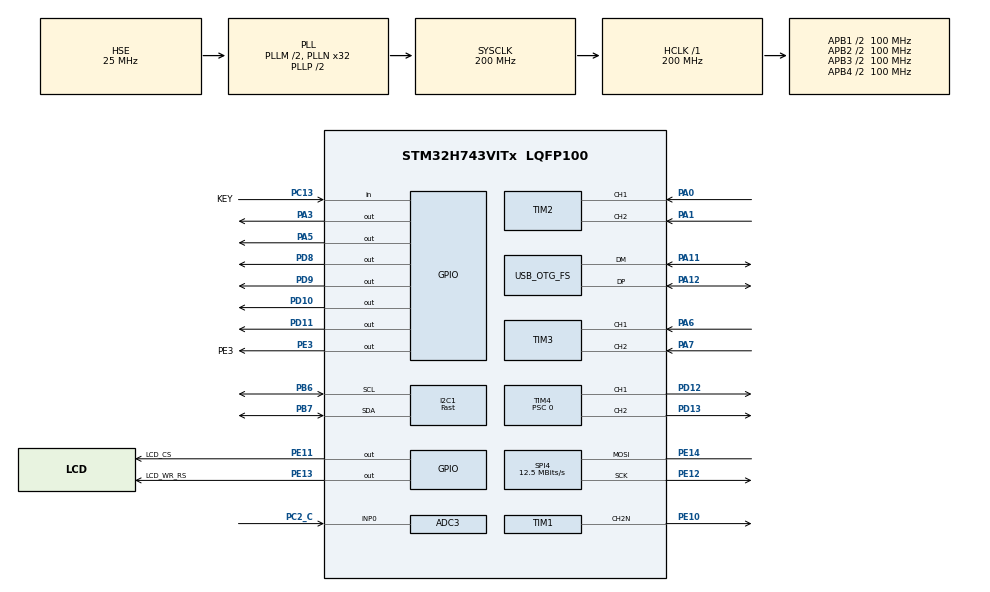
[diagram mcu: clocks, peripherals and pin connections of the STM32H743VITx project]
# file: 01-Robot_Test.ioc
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ADC3.Channel-0\#ChannelRegularConversion=ADC_CHANNEL_0
ADC3.Channel-1\#ChannelRegularConversion=ADC_CHANNEL_VREFINT
ADC3.Channel-2\#ChannelRegularConversion=ADC_CHANNEL_TEMPSENSOR
ADC3.Channel-3\#ChannelRegularConversion=ADC_CHANNEL_VBAT
ADC3.ContinuousConvMode=DISABLE
ADC3.DiscontinuousConvMode=ENABLE
ADC3.NbrOfConversion=4
ADC3.NbrOfConversionFlag=1
ADC3.OffsetNumber-0\#ChannelRegularConversion=ADC_OFFSET_NONE
ADC3.OffsetNumber-1\#ChannelRegularConversion=ADC_OFFSET_NONE
ADC3.OffsetNumber-2\#ChannelRegularConversion=ADC_OFFSET_NONE
ADC3.OffsetNumber-3\#ChannelRegularConversion=ADC_OFFSET_NONE
ADC3.Rank-0\#ChannelRegularConversion=1
ADC3.Rank-1\#ChannelRegularConversion=2
ADC3.Rank-2\#ChannelRegularConversion=3
ADC3.Rank-3\#ChannelRegularConversion=4
ADC3.SamplingTime-0\#ChannelRegularConversion=ADC_SAMPLETIME_387CYCLES_5
ADC3.SamplingTime-1\#ChannelRegularConversion=ADC_SAMPLETIME_387CYCLES_5
ADC3.SamplingTime-2\#ChannelRegularConversion=ADC_SAMPLETIME_387CYCLES_5
ADC3.SamplingTime-3\#ChannelRegularConversion=ADC_SAMPLETIME_387CYCLES_5
I2C1.I2C_Speed_Mode=I2C_Fast
I2C1.Timing=0x009034B6
Mcu.Family=STM32H7
Mcu.Name=STM32H743VITx
Mcu.Package=LQFP100
NVIC.OTG_FS_IRQn=true\:0\:0\:false\:false\:true\:false\:true\:true
NVIC.PriorityGroup=NVIC_PRIORITYGROUP_4
PA0.Signal=S_TIM2_CH1_ETR
PA1.Signal=S_TIM2_CH2
PA11.Mode=Device_Only
PA11.Signal=USB_OTG_FS_DM
PA12.Mode=Device_Only
PA12.Signal=USB_OTG_FS_DP
PA13\ (JTMS/SWDIO).Mode=Serial_Wire
PA13\ (JTMS/SWDIO).Signal=DEBUG_JTMS-SWDIO
PA14\ (JTCK/SWCLK).Mode=Serial_Wire
PA14\ (JTCK/SWCLK).Signal=DEBUG_JTCK-SWCLK
PA3.Signal=GPIO_Output
PA5.Signal=GPIO_Output
PA6.Signal=S_TIM3_CH1
PA7.Signal=S_TIM3_CH2
PB6.Mode=I2C
PB6.Signal=I2C1_SCL
PB7.Mode=I2C
PB7.Signal=I2C1_SDA
PC13.GPIO_Label=KEY
PC13.GPIO_PuPd=GPIO_PULLDOWN
PC13.Signal=GPIO_Input
PC14-OSC32_IN\ (OSC32_IN).Mode=LSE-External-Oscillator
PC14-OSC32_IN\ (OSC32_IN).Signal=RCC_OSC32_IN
PC15-OSC32_OUT\ (OSC32_OUT).Mode=LSE-External-Oscillator
PC15-OSC32_OUT\ (OSC32_OUT).Signal=RCC_OSC32_OUT
PC2_C.Mode=IN0-Single-Ended
PC2_C.Signal=ADC3_INP0
PD10.Signal=GPIO_Output
PD11.Signal=GPIO_Output
PD12.Signal=S_TIM4_CH1
PD13.Signal=S_TIM4_CH2
PD8.Signal=GPIO_Output
PD9.Signal=GPIO_Output
PE10.Mode=PWM Generation2 CH2N
PE10.Signal=TIM1_CH2N
PE11.GPIO_Label=LCD_CS
PE11.GPIO_Speed=GPIO_SPEED_FREQ_VERY_HIGH
PE11.PinState=GPIO_PIN_SET
PE11.Signal=GPIO_Output
PE12.GPIO_Speed=GPIO_SPEED_FREQ_MEDIUM
PE12.Mode=Simplex_Bidirectional_Master
PE12.Signal=SPI4_SCK
PE13.GPIO_Label=LCD_WR_RS
PE13.GPIO_Speed=GPIO_SPEED_FREQ_VERY_HIGH
PE13.PinState=GPIO_PIN_SET
PE13.Signal=GPIO_Output
PE14.GPIO_Speed=GPIO_SPEED_FREQ_MEDIUM
PE14.Mode=Simplex_Bidirectional_Master
PE14.Signal=SPI4_MOSI
PE3.GPIO_Label=PE3
PE3.Signal=GPIO_Output
PH0-OSC_IN\ (PH0).Mode=HSE-External-Oscillator
PH0-OSC_IN\ (PH0).Signal=RCC_OSC_IN
PH1-OSC_OUT\ (PH1).Mode=HSE-External-Oscillator
PH1-OSC_OUT\ (PH1).Signal=RCC_OSC_OUT
ProjectManager.HeapSize=0x200
ProjectManager.StackSize=0x400
ProjectManager.TargetToolchain=STM32CubeIDE
RCC.ADCCLockSelection=RCC_ADCCLKSOURCE_PLL3
RCC.ADCFreq_Value=75000000
RCC.APB1Freq_Value=100000000
RCC.APB2Freq_Value=100000000
RCC.APB3Freq_Value=100000000
RCC.APB4Freq_Value=100000000
RCC.CortexFreq_Value=200000000
RCC.D1PPRE=RCC_APB3_DIV2
RCC.D2PPRE1=RCC_APB1_DIV2
RCC.D2PPRE2=RCC_APB2_DIV2
RCC.D3PPRE=RCC_APB4_DIV2
RCC.DIVM1=2
RCC.DIVM2=4
RCC.DIVM3=2
RCC.DIVN1=32
RCC.DIVN2=9
RCC.DIVN3=12
RCC.DIVP2=1
RCC.DIVQ1=7
RCC.HCLKFreq_Value=200000000
RCC.PLL2FRACN=3072
RCC.PLL3FRACN=0
RCC.PLLFRACN=0
RCC.PLLSourceVirtual=RCC_PLLSOURCE_HSE
RCC.PWR_Regulator_Voltage_Scale=PWR_REGULATOR_VOLTAGE_SCALE0
RCC.RTCClockSelection=RCC_RTCCLKSOURCE_LSE
RCC.SYSCLKFreq_VALUE=200000000
RCC.SYSCLKSource=RCC_SYSCLKSOURCE_PLLCLK
RCC.USBCLockSelection=RCC_USBCLKSOURCE_HSI48
RCC.USBFreq_Value=48000000
SH.S_TIM2_CH1_ETR.0=TIM2_CH1,Encoder_Interface
SH.S_TIM2_CH2.0=TIM2_CH2,Encoder_Interface
SH.S_TIM3_CH1.0=TIM3_CH1,Encoder_Interface
SH.S_TIM3_CH2.0=TIM3_CH2,Encoder_Interface
SH.S_TIM4_CH1.0=TIM4_CH1,PWM Generation1 CH1
SH.S_TIM4_CH2.0=TIM4_CH2,PWM Generation2 CH2
SPI4.BaudRatePrescaler=SPI_BAUDRATEPRESCALER_8
SPI4.CalculateBaudRate=12.5 MBits/s
SPI4.DataSize=SPI_DATASIZE_8BIT
SPI4.Direction=SPI_DIRECTION_1LINE
SPI4.Mode=SPI_MODE_MASTER
SPI4.VirtualType=VM_MASTER
TIM1.Channel-PWM\ Generation2\ CH2N=TIM_CHANNEL_2
TIM1.OCNPolarity_2=TIM_OCNPOLARITY_LOW
TIM1.Period=1000-1
TIM1.Prescaler=12-1
TIM2.EncoderMode=TIM_ENCODERMODE_TI1
TIM3.EncoderMode=TIM_ENCODERMODE_TI2
TIM4.AutoReloadPreload=TIM_AUTORELOAD_PRELOAD_DISABLE
TIM4.Channel-PWM\ Generation1\ CH1=TIM_CHANNEL_1
TIM4.Channel-PWM\ Generation2\ CH2=TIM_CHANNEL_2
TIM4.Period=10000-1
TIM4.Prescaler=0
TIM8.AutoReloadPreload=TIM_AUTORELOAD_PRELOAD_ENABLE
TIM8.Period=200
TIM8.Prescaler=200-1
USB_DEVICE.CLASS_NAME_FS=CDC
USB_DEVICE.VirtualMode-CDC_FS=Cdc
USB_DEVICE.VirtualModeFS=Cdc_FS
USB_OTG_FS.VirtualMode=Device_Only
VP_ADC3_TempSens_Input.Mode=IN-TempSens
VP_ADC3_Vbat_Input.Mode=IN-Vbat
VP_ADC3_Vref_Input.Mode=IN-Vrefint
VP_MEMORYMAP_VS_MEMORYMAP.Mode=CurAppReg
VP_TIM4_VS_ClockSourceINT.Mode=Internal
VP_TIM8_VS_ClockSourceINT.Mode=Internal
VP_USB_DEVICE_VS_USB_DEVICE_CDC_FS.Mode=CDC_FS
VP_VREFBUF_V_VREFBUF.Mode=ExternalMode
board=custom

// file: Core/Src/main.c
/* USER CODE BEGIN Header */
/**
 * By:  Armando S. Sanca
  ******************************************************************************
  * @file           : main.c
  * @brief          : Main program body
  ******************************************************************************
  * @attention
  *
  * <h2><center>&copy; Copyright (c) 2024 STMicroelectronics.
  * All rights reserved.</center></h2>
  *
  * This software component is licensed by ST under BSD 3-Clause license,
  * the "License"; You may not use this file except in compliance with the
  * License. You may obtain a copy of the License at:
  *                        opensource.org/licenses/BSD-3-Clause
  *
  ******************************************************************************
  */
/* USER CODE END Header */
#include "main.h"
#include "adc.h"
#include "i2c.h"
#include "spi.h"
#include "tim.h"
#include "usb_device.h"
#include "gpio.h"

/* USER CODE BEGIN Includes */
#define _USE_MATH_DEFINES
#include "lcd.h"
#include <stdio.h>
#include "bno055_stm32.h"
#include "usbd_cdc_if.h"
#include <math.h>
/* USER CODE END Includes */

/* USER CODE BEGIN PTD */

typedef struct ControleMotor {
	float Kp, Ki, Kd;
	float erro_anterior, integral, derivada;
	float setpoint, rpm_medido;
} controleMotor_t;

typedef struct RoboDiferencial {
	controleMotor_t motor_esq, motor_dir;
	float L, raio_roda;
	float rpm_max, rpm_min;
	float vel_lin, vel_ang;
	float pos_x, pos_y;
	float theta;
} roboDiferencial_t;
/* USER CODE END PTD */

/* USER CODE BEGIN PD */
#define V_LIN_MAX 0.722 // Obtida  pelos parâmetros máximos na cinemática direta
#define V_ANG_MAX 8.5 // Obtida  pelos parâmetros máximos na cinemática direta
#define TS_S 0.01
#define TS_MS 10
#define PPR 15336
/* USER CODE END PD */

/* USER CODE BEGIN PM */
#ifndef MAX
#define MAX(a, b) ((a) > (b) ? (a) : (b))
#endif
#ifndef MIN
#define MIN(a,b) ((a) < (b) ? (a):(b))
#endif
/* USER CODE END PM */

/* USER CODE BEGIN PV */

////////////////////////////////////////////////////////////////////////////////////////////////////////

/* USER CODE END PV */

void SystemClock_Config(void);
/* USER CODE BEGIN PFP */
__IO uint16_t uhADCxConvertedValue[4];  // Interno do código de demostração
__IO uint32_t uhADCxInputVoltage[4];    // para acionar os ADCs
uint32_t adc3_inp0,vbat,tempsensor,vrefint;
/* USER CODE END PFP */

/* USER CODE BEGIN 0 */

static void MPU_Config(void)
{
  MPU_Region_InitTypeDef MPU_InitStruct = {0};

  /* Disables the MPU */
  HAL_MPU_Disable();

  /* Configure the MPU attributes for the QSPI 256MB without instruction access */
  MPU_InitStruct.Enable           = MPU_REGION_ENABLE;
  MPU_InitStruct.Number           = MPU_REGION_NUMBER0;
  MPU_InitStruct.BaseAddress      = QSPI_BASE;
  MPU_InitStruct.Size             = MPU_REGION_SIZE_256MB;
  MPU_InitStruct.AccessPermission = MPU_REGION_NO_ACCESS;
  MPU_InitStruct.IsBufferable     = MPU_ACCESS_NOT_BUFFERABLE;
  MPU_InitStruct.IsCacheable      = MPU_ACCESS_NOT_CACHEABLE;
  MPU_InitStruct.IsShareable      = MPU_ACCESS_NOT_SHAREABLE;
  MPU_InitStruct.DisableExec      = MPU_INSTRUCTION_ACCESS_DISABLE;
  MPU_InitStruct.TypeExtField     = MPU_TEX_LEVEL1;
  MPU_InitStruct.SubRegionDisable = 0x00;
  HAL_MPU_ConfigRegion(&MPU_InitStruct);

  /* Configure the MPU attributes for the QSPI 8MB (QSPI Flash Size) to Cacheable WT */
  MPU_InitStruct.Enable           = MPU_REGION_ENABLE;
  MPU_InitStruct.Number           = MPU_REGION_NUMBER1;
  MPU_InitStruct.BaseAddress      = QSPI_BASE;
  MPU_InitStruct.Size             = MPU_REGION_SIZE_8MB;
  MPU_InitStruct.AccessPermission = MPU_REGION_PRIV_RO;
  MPU_InitStruct.IsBufferable     = MPU_ACCESS_BUFFERABLE;
  MPU_InitStruct.IsCacheable      = MPU_ACCESS_CACHEABLE;
  MPU_InitStruct.IsShareable      = MPU_ACCESS_NOT_SHAREABLE;
  MPU_InitStruct.DisableExec      = MPU_INSTRUCTION_ACCESS_ENABLE;
  MPU_InitStruct.TypeExtField     = MPU_TEX_LEVEL1;
  MPU_InitStruct.SubRegionDisable = 0x00;
  HAL_MPU_ConfigRegion(&MPU_InitStruct);

  /* Enables the MPU */
  HAL_MPU_Enable(MPU_PRIVILEGED_DEFAULT);
}

static void CPU_CACHE_Enable(void)
{
  /* Enable I-Cache */
  SCB_EnableICache();

  /* Enable D-Cache */
  SCB_EnableDCache();
}

void LED_Pisca(uint32_t delay)
{
	HAL_GPIO_WritePin(PE3_GPIO_Port,PE3_Pin,GPIO_PIN_SET);
	HAL_Delay(delay);
	HAL_GPIO_WritePin(PE3_GPIO_Port,PE3_Pin,GPIO_PIN_RESET);
	HAL_Delay(delay);
}
        /* Cinemática inversa do robô diferencial:
           converte velocidade linear e angular em
           velocidades angulares das rodas */
void InverseKinematic(roboDiferencial_t *robo) {
    float omega_d, omega_e;

    omega_d =(robo->vel_lin/robo->raio_roda) + (robo->L/(2.0f*robo->raio_roda))*robo->vel_ang;
    omega_e =(robo->vel_lin/robo->raio_roda) - (robo->L/(2.0f*robo->raio_roda))*robo->vel_ang;

    robo->motor_dir.setpoint = omega_d * 60.0f/(2.0f*M_PI);
    robo->motor_esq.setpoint = omega_e * 60.0f/(2.0f*M_PI);
}

void ControleReferenciaVariavelPosicao(
        roboDiferencial_t *robo,
        float x_d,
        float y_d,
        float K_l,
        float K_theta,
        float tol)
{

    float delta_x, delta_y, delta_l, delta_theta;
    float theta_d;
    float delta_l_proj, v_lin, v_ang;

    delta_x = x_d - robo->pos_x;
    delta_y = y_d - robo->pos_y;

    delta_l = sqrtf(delta_x*delta_x + delta_y*delta_y);

    if(delta_l < tol)
    {
        robo->vel_lin  = 0.0f;
        robo->vel_ang = 0.0f;

        robo->motor_dir.setpoint = 0.0f;
        robo->motor_esq.setpoint = 0.0f;
        robo->motor_dir.integral = 0.0;
        robo->motor_esq.integral = 0.0;
        robo->motor_dir.erro_anterior = 0.0;
        robo->motor_esq.erro_anterior = 0.0;
        return;
    }
    theta_d = atan2(delta_y, delta_x);

    delta_theta = theta_d - robo->theta;

    delta_theta = atan2(sin(delta_theta),cos(delta_theta));

    delta_l_proj = delta_l * cos(delta_theta);

    v_lin = K_l * delta_l_proj;

    v_ang = K_theta * delta_theta;

    //é pra ser isso aqui
    robo->vel_lin = MAX(-V_LIN_MAX, MIN(v_lin, V_LIN_MAX));
    robo->vel_ang = MAX(-V_ANG_MAX, MIN(v_ang, V_ANG_MAX));

    // if(v_lin > V_MAX)// Melhora isso aqui, por favor
    // 	v_lin = V_MAX;
    // if(v_lin < -V_MAX)
    // 	v_lin = -V_MAX;

    // if(v_ang > OMEGA_MAX) // Melhora isso aqui, por favor
    // 	v_ang = OMEGA_MAX; //
    // if(v_ang < -OMEGA_MAX)
    // 	v_ang = -OMEGA_MAX;
    InverseKinematic(robo);
}

float calcular_PID(controleMotor_t *ctrl, float dt) {
	/*ctrl é o motor a ser controlado, dt é o tempo de amostragem*/
	float erro, P, I;
	float saida_bruta;

	erro = ctrl->setpoint - ctrl->rpm_medido;
	P = ctrl->Kp * erro;

	ctrl->integral = ctrl->integral + ctrl->Ki*(erro*dt);
	I =  ctrl->integral;

	saida_bruta = P + I;

    if (saida_bruta > 100) {
		ctrl->integral -= (float)(saida_bruta - 100); // Agora tem o Ki
		saida_bruta = 100;
	} else if (saida_bruta < 0) {
		ctrl->integral += -(float)saida_bruta; // Agora tem o Ki
		saida_bruta = 0;
	}
	ctrl->erro_anterior = erro;
	return saida_bruta;

}

// Calcula a velocidade angular
float OmegaSpeedLeft(float dif_countLeft, float Ts){
   return ((float)((dif_countLeft/Ts)*(60.0/(float)PPR)));  // Wheel Side in RPM ****** where 15336 PPR
}

float OmegaSpeedRight(float dif_countRight, float Ts){
   return ((float)((dif_countRight/Ts)*(60.0/(float)PPR)));  // Wheel Side in RPM ****** where 15336 PPR
}

//cinematica direta
void CalcularVelDireta(roboDiferencial_t *robo, float vel_ang_esq, float vel_ang_dir) {
	robo->vel_lin = (robo->raio_roda/2) * (vel_ang_esq + vel_ang_dir)*(2*M_PI/60.0);
	robo->vel_ang = (robo->raio_roda/robo->L) * (vel_ang_dir - vel_ang_esq)*(2*M_PI/60.0);
}

//////////////////////////////////////// Daqui pra cima funciona ///////////////////////////////////////////////////////////////////////////

void Ms2RPM(float v_ms, roboDiferencial_t* robo){ // essa função funciona para o que ela pretende fazer
	robo->motor_dir.setpoint = abs((v_ms*60)/(2*M_PI*robo->raio_roda));
	robo->motor_esq.setpoint = abs((v_ms*60)/(2*M_PI*robo->raio_roda));
}

/* USER CODE END 0 */

int main(void)
{

  /* USER CODE BEGIN 1 */
  #ifdef W25Qxx
    SCB->VTOR = QSPI_BASE;
  #endif
  MPU_Config();
  CPU_CACHE_Enable();

  /* USER CODE END 1 */

  /* MCU Configuration--------------------------------------------------------*/

  /* Reset of all peripherals, Initializes the Flash interface and the Systick. */
  HAL_Init();

  /* Configure the system clock */
  SystemClock_Config();

  /* Initialize all configured peripherals */
  MX_GPIO_Init();
  MX_SPI4_Init();
  MX_TIM1_Init();
  MX_USB_DEVICE_Init();
  MX_TIM3_Init();
  MX_TIM4_Init();
  MX_ADC3_Init();
  MX_TIM2_Init();
  MX_TIM8_Init();
  MX_I2C1_Init();
  /* USER CODE BEGIN 2 */
  bno055_assignI2C(&hi2c1);
  bno055_setup();
  bno055_setOperationModeNDOF();

  HAL_TIM_Encoder_Start(&htim2, TIM_CHANNEL_ALL); // Encoder02  start Right Motor
  HAL_TIM_Encoder_Start(&htim3, TIM_CHANNEL_ALL); // Encoder01  start  Left Motor

  HAL_TIM_PWM_Start(&htim4, TIM_CHANNEL_1); // PWM01 start  Left Motor
  HAL_TIM_PWM_Start(&htim4, TIM_CHANNEL_2); // PWM02 start Right Motor

  HAL_TIM_Base_Start(&htim8);

  LCD_Test();

// Sinal de controle, ciclo de duração PWM
int CH1_PWM_duty = 0; // Inicializa ciclo de duração PWM
int CH2_PWM_duty = 0; // Inicializa ciclo de duração PWM
// int CH1_PWM = GPIO_PIN_12;
// int CH2_PWM = GPIO_PIN_13;
// Encoder references
uint32_t oldPosLeft  = 0;
uint32_t oldPosRight  = 0;
uint32_t newPosLeft, newPosRight;

float Time = 0; // increment in ms

float wheelMEASLeft, wheelMEASRight;

  //os parametros tem que ser passados em centimetros

  //=============================================
  // Estrutura do robo
  //============================================

roboDiferencial_t robo = {
        .L = 0.17,
        .raio_roda = 0.033,
        .rpm_max = 209,
        .rpm_min = -209,
        .vel_ang = 0.0,
        .vel_lin = 0.0,
        .pos_x = 0.0,
        .pos_y = 0.0,
        .theta = 0.0,
};

  // ============================================
  // Definição dos parametros do pid
  // ============================================
  //esse aqui esta pronto
  robo.motor_dir.Kd = 0.0;
  robo.motor_dir.Kp = 0.411988600834366;
  robo.motor_dir.Ki = 0.794199129056499;

  robo.motor_esq.Kd = 0.0;
  robo.motor_esq.Kp = 0.411988600834366;
  robo.motor_esq.Ki = 0.794199129056499;

  // =================================
  // Definição dos setpoints iniciais
  // =================================

  robo.motor_dir.setpoint = 0.0;
  robo.motor_esq.setpoint = 0.0;

  // ===================================
  // 	Definição do estado inicial
  // ===================================

  robo.motor_esq.erro_anterior = 0.0;
  robo.motor_esq.integral = 0.0;
  robo.motor_esq.rpm_medido = 0.0;

  robo.motor_dir.erro_anterior = 0.0;
  robo.motor_dir.integral = 0.0;
  robo.motor_dir.rpm_medido = 0.0;

	/* Run the ADC calibration in single-ended mode */
  if (HAL_ADCEx_Calibration_Start(&hadc3, ADC_CALIB_OFFSET, ADC_SINGLE_ENDED) != HAL_OK)
  {
    /* Calibration Error */
    Error_Handler();
  }

  HAL_GPIO_WritePin(GPIOA, GPIO_PIN_3,GPIO_PIN_SET);
  HAL_GPIO_WritePin(GPIOA, GPIO_PIN_5,GPIO_PIN_SET);

  /* USER CODE END 2 */

  /* Infinite loop */
  while (1)
  {

    /* USER CODE BEGIN 3 */

	  for(uint32_t i = 0;i<(sizeof(uhADCxConvertedValue)/sizeof(uint16_t));i++)
		{
			/*##-1- Start the conversion process #######################################*/
			if (HAL_ADC_Start(&hadc3) != HAL_OK)
			{
				/* Start Conversation Error */
				Error_Handler();
			}
			/*##-2- Wait for the end of conversion #####################################*/
			/*  For simplicity reasons, this example is just waiting till the end of the
					conversion, but application may perform other tasks while conversion
					operation is ongoing. */
			if (HAL_ADC_PollForConversion(&hadc3,HAL_MAX_DELAY) != HAL_OK)
			{
				/* End Of Conversion flag not set on time */
				Error_Handler();
			}
			else
			{
				/* ADC conversion completed */
				/*##-3- Get the converted value of regular channel  ########################*/
				uhADCxConvertedValue[i] = HAL_ADC_GetValue(&hadc3);

				/* Convert the result from 16 bit value to the voltage dimension (mV unit) */
				/* Vref = 3.3 V */
				uhADCxInputVoltage[i] = ((uhADCxConvertedValue[i] * 3300) / 0xFFFF);
			}
		}
		HAL_ADC_Stop(&hadc3);

		#define V30  (620)  // mV, V30: 0.62V,datasheet P278
		#define Avg_Slope (2) // mV/  C

		adc3_inp0  = uhADCxInputVoltage[0]; // mv
		vrefint    = uhADCxInputVoltage[1]; // type. 1200mV
		tempsensor = ((int32_t)uhADCxInputVoltage[2] - V30)/Avg_Slope + 30; //   C
		vbat       = uhADCxInputVoltage[3] * 4;

//

		uint8_t text[200];
		// 1. Leitura dos Encoders
		newPosRight =  __HAL_TIM_GET_COUNTER(&htim3);
		newPosLeft = __HAL_TIM_GET_COUNTER(&htim2);

		// 2. Calcula a diferença dos contadores e resolve o overflow CORRETAMENTE
		// TIM3 (Right) é 16-bits, então obrigatório o cast para int16_t
		int16_t deltaLeft = (newPosLeft - oldPosLeft);
		// TIM2 (Left) é 16-bits, então obrigatório o cast para int16_t
		int16_t deltaRight = (newPosRight - oldPosRight);

		oldPosLeft = newPosLeft;
		oldPosRight = newPosRight;

		// 4. Calcula Velocidades Reais (Pode desfazer a inversão, agora vai bater certo!)
		wheelMEASLeft = (float)OmegaSpeedLeft((float)deltaLeft, TS_S);
		wheelMEASRight = (float)OmegaSpeedRight((float)deltaRight, TS_S);

		// 5. Alimenta a estrutura do robô

		// --------------------------------------------------------------------
		// O PID foi projetado para trabalhar apenas com velocidades positivas.
		// Portanto, o sinal do setpoint é separado em:
		//
		// 1) Magnitude (módulo):
		//    - Utilizada pelo PID para controlar a velocidade.
		//    - Tanto o setpoint quanto a velocidade rpm_medido são convertidos
		//      para valores absolutos.
		//
		// 2) Direção:
		//    - O sinal original é preservado.
		//    - Se o valor for negativo, robô dá ré.
		//    - Se o valor for positivo, robô vai pra frente.
		//
		// Dessa forma o controlador de velocidade não precisa ser alterado e
		// o robô pode se deslocar tanto para frente quanto para trás.
		// --------------------------------------------------------------------

		float sp_dir = robo.motor_dir.setpoint;
		float sp_esq = robo.motor_esq.setpoint;

		robo.motor_dir.setpoint = fabsf(sp_dir);
		robo.motor_esq.setpoint = fabsf(sp_esq);

		robo.motor_dir.rpm_medido = fabsf(wheelMEASRight);
		robo.motor_esq.rpm_medido = fabsf(wheelMEASLeft);

		// 6. Calcula o PID (Passando Ts em SEGUNDOS)
		float pid1 = calcular_PID(&robo.motor_esq, TS_S);
		float pid2 = calcular_PID(&robo.motor_dir, TS_S);

		// 7. Calcula Duty Cycle Linearizado (Como no Simulink)
		CH1_PWM_duty = (int)(abs(pid1) * 100);
		CH2_PWM_duty = (int)(abs(pid2) * 100);

		// 8. Controle de Direção - MOTOR ESQUERDO
		if (sp_esq < 0) {
			HAL_GPIO_WritePin(GPIOD, GPIO_PIN_8, GPIO_PIN_SET);  // Tras
			HAL_GPIO_WritePin(GPIOD, GPIO_PIN_9, GPIO_PIN_RESET);
		} else {
			HAL_GPIO_WritePin(GPIOD, GPIO_PIN_8, GPIO_PIN_RESET); // Frente
			HAL_GPIO_WritePin(GPIOD, GPIO_PIN_9, GPIO_PIN_SET);
		}
		__HAL_TIM_SET_COMPARE(&htim4, TIM_CHANNEL_1, CH1_PWM_duty);

		// 9. Controle de Direção - MOTOR DIREITO
		if (sp_dir < 0) {
			HAL_GPIO_WritePin(GPIOD, GPIO_PIN_10, GPIO_PIN_SET);  // Tras
			HAL_GPIO_WritePin(GPIOD, GPIO_PIN_11, GPIO_PIN_RESET);
		} else {
			HAL_GPIO_WritePin(GPIOD, GPIO_PIN_10, GPIO_PIN_RESET); // Frente
			HAL_GPIO_WritePin(GPIOD, GPIO_PIN_11, GPIO_PIN_SET);
		}
		 __HAL_TIM_SET_COMPARE(&htim4, TIM_CHANNEL_2, CH2_PWM_duty);

		CalcularVelDireta(&robo, wheelMEASLeft, wheelMEASRight);

		robo.pos_x = robo.pos_x + (robo.vel_lin*cos(robo.theta)*TS_S);
		robo.pos_y = robo.pos_y + (robo.vel_lin*sin(robo.theta)*TS_S);

		robo.theta = robo.theta + robo.vel_ang*TS_S;

		// Print para debug
		 sprintf((char *)&text, "X: %5.2f Y: %5.2f T: %5.2f", robo.pos_x, robo.pos_y, robo.theta * 180/M_PI);
		 LCD_ShowString(4, 22, ST7735Ctx.Width, 16, 12, text);

		// 3. Tempo de amostragem
		HAL_Delay(TS_MS);
		Time = Time + (float)TS_S;

		// Feito para teste
		ControleReferenciaVariavelPosicao(
		    &robo,
		    0.30,   // x_d
		    0.40,   // y_d
		    0.60,   // K_l
		    0.50,   // K_theta
		    0.01   // tolerância
		);
  }
  /* USER CODE END 3 */
}

void SystemClock_Config(void)
{
  RCC_OscInitTypeDef RCC_OscInitStruct = {0};
  RCC_ClkInitTypeDef RCC_ClkInitStruct = {0};

  /** Supply configuration update enable
  */
  HAL_PWREx_ConfigSupply(PWR_LDO_SUPPLY);

  /** Configure the main internal regulator output voltage
  */
  __HAL_PWR_VOLTAGESCALING_CONFIG(PWR_REGULATOR_VOLTAGE_SCALE0);

  while(!__HAL_PWR_GET_FLAG(PWR_FLAG_VOSRDY)) {}

  /** Initializes the RCC Oscillators according t76o the specified parameters
  * in the RCC_OscInitTypeDef structure.
  */
  RCC_OscInitStruct.OscillatorType = RCC_OSCILLATORTYPE_HSI48|RCC_OSCILLATORTYPE_HSE;
  RCC_OscInitStruct.HSEState = RCC_HSE_ON;
  RCC_OscInitStruct.HSI48State = RCC_HSI48_ON;
  RCC_OscInitStruct.PLL.PLLState = RCC_PLL_ON;
  RCC_OscInitStruct.PLL.PLLSource = RCC_PLLSOURCE_HSE;
  RCC_OscInitStruct.PLL.PLLM = 2;
  RCC_OscInitStruct.PLL.PLLN = 32;
  RCC_OscInitStruct.PLL.PLLP = 2;
  RCC_OscInitStruct.PLL.PLLQ = 7;
  RCC_OscInitStruct.PLL.PLLR = 2;
  RCC_OscInitStruct.PLL.PLLRGE = RCC_PLL1VCIRANGE_3;
  RCC_OscInitStruct.PLL.PLLVCOSEL = RCC_PLL1VCOWIDE;
  RCC_OscInitStruct.PLL.PLLFRACN = 0;
  if (HAL_RCC_OscConfig(&RCC_OscInitStruct) != HAL_OK)
  {
    Error_Handler();
  }

  /** Initializes the CPU, AHB and APB buses clocks
  */
  RCC_ClkInitStruct.ClockType = RCC_CLOCKTYPE_HCLK|RCC_CLOCKTYPE_SYSCLK
                              |RCC_CLOCKTYPE_PCLK1|RCC_CLOCKTYPE_PCLK2
                              |RCC_CLOCKTYPE_D3PCLK1|RCC_CLOCKTYPE_D1PCLK1;
  RCC_ClkInitStruct.SYSCLKSource = RCC_SYSCLKSOURCE_PLLCLK;
  RCC_ClkInitStruct.SYSCLKDivider = RCC_SYSCLK_DIV1;
  RCC_ClkInitStruct.AHBCLKDivider = RCC_HCLK_DIV1;
  RCC_ClkInitStruct.APB3CLKDivider = RCC_APB3_DIV2;
  RCC_ClkInitStruct.APB1CLKDivider = RCC_APB1_DIV2;
  RCC_ClkInitStruct.APB2CLKDivider = RCC_APB2_DIV2;
  RCC_ClkInitStruct.APB4CLKDivider = RCC_APB4_DIV2;

  if (HAL_RCC_ClockConfig(&RCC_ClkInitStruct, FLASH_LATENCY_2) != HAL_OK)
  {
    Error_Handler();
  }
}

void Error_Handler(void)
{
  /* USER CODE BEGIN Error_Handler_Debug */
  /* User can add his own implementation to report the HAL error return state */
  while(1)
		LED_Pisca(500);
  /* USER CODE END Error_Handler_Debug */
}
